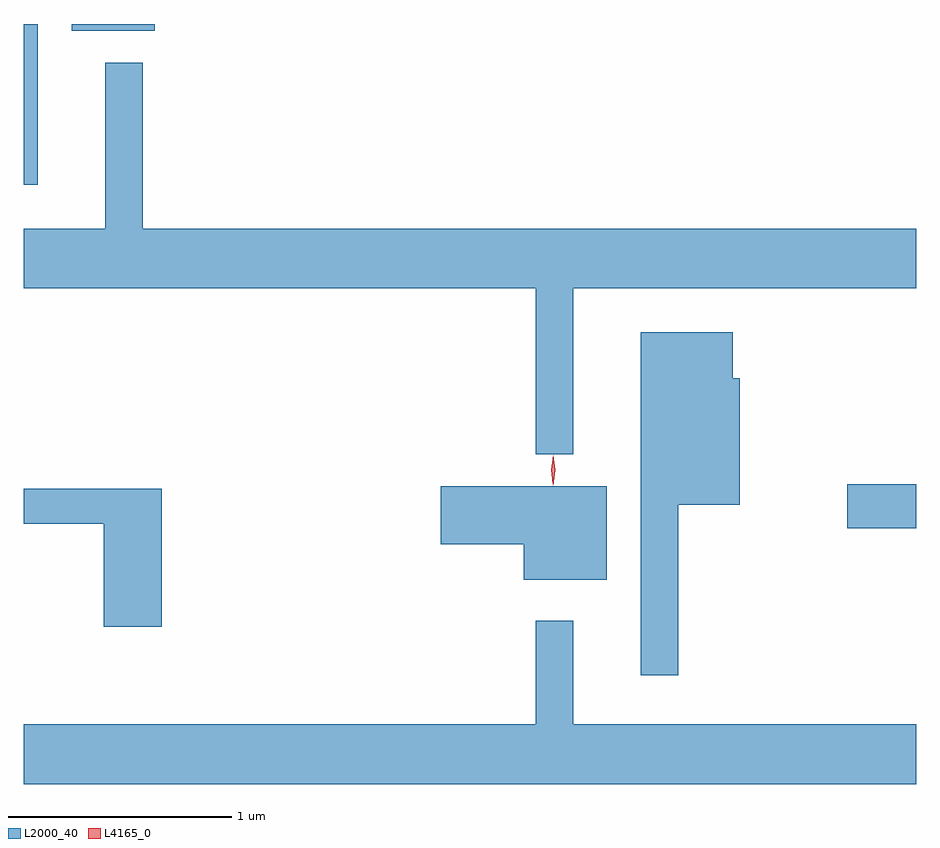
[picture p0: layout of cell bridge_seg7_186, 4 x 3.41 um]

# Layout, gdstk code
import gdstk
lib = gdstk.Library(unit=1e-6, precision=1e-09)
def R(c, l, rs):  # rectangles x0, y0, x1, y1
    for r in rs: c.add(gdstk.rectangle(r[:2], r[2:], *l))
def P(c, l, *ps):  # polygons
    for p in ps: c.add(gdstk.Polygon(p, *l))
L2000_40 = (2000, 40)
L4165_0 = (4165, 0)

bridge_seg7_186 = lib.new_cell('bridge_seg7_186')
R(bridge_seg7_186, L2000_40, [(1563.916,1691.041,1564.226,1691.239), (1560.226,1692.581,1560.289,1693.301), (1560.441,1693.271,1560.814,1693.301)])
P(bridge_seg7_186, L2000_40, [(1562.689,1692.116),(1564.226,1692.116),(1564.226,1692.384),(1560.759,1692.384),(1560.759,1693.128),(1560.591,1693.128),(1560.591,1692.384),(1560.226,1692.384),(1560.226,1692.116),(1562.521,1692.116),(1562.521,1691.373),(1562.689,1691.373)],
  [(1563.159,1691.146),(1563.434,1691.146),(1563.434,1691.714),(1563.404,1691.714),(1563.404,1691.919),(1562.991,1691.919),(1562.991,1690.383),(1563.159,1690.383)],
  [(1562.839,1691.229),(1562.096,1691.229),(1562.096,1690.971),(1562.466,1690.971),(1562.466,1690.811),(1562.839,1690.811)],
  [(1560.844,1691.219),(1560.226,1691.219),(1560.226,1691.061),(1560.586,1691.061),(1560.586,1690.601),(1560.844,1690.601)],
  [(1564.226,1690.164),(1562.689,1690.164),(1562.689,1690.628),(1562.521,1690.628),(1562.521,1690.164),(1560.226,1690.164),(1560.226,1689.896),(1564.226,1689.896)])
P(bridge_seg7_186, L4165_0, [(1562.598,1691.24),(1562.597,1691.241),(1562.589,1691.304),(1562.599,1691.366),(1562.6,1691.367),(1562.6,1691.366),(1562.609,1691.303),(1562.598,1691.241)],
  [(1562.598,1691.234),(1562.598,1691.234),(1562.589,1691.302),(1562.599,1691.37),(1562.6,1691.37),(1562.6,1691.37),(1562.609,1691.302),(1562.599,1691.234)])

lib.write_gds('bridge_seg7_186.gds')
